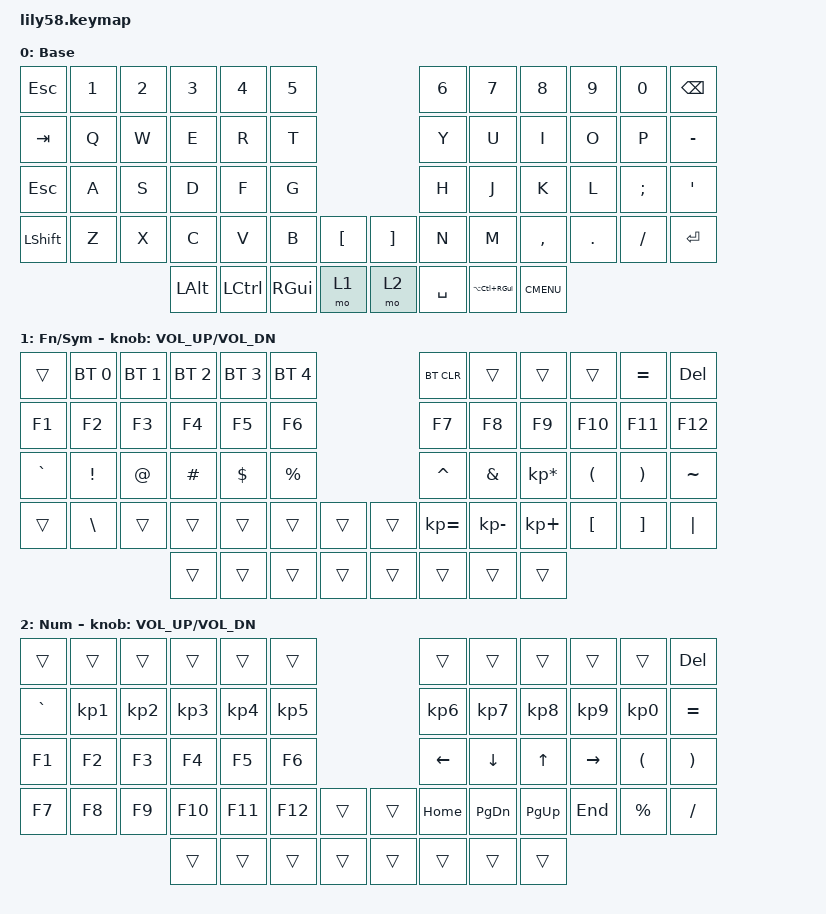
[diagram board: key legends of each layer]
/*
 * Copyright (c) 2020 The ZMK Contributors
 *
 * SPDX-License-Identifier: MIT
 */

#include <behaviors.dtsi>
#include <dt-bindings/zmk/bt.h>
#include <dt-bindings/zmk/keys.h>

/ {
    keymap {
        compatible = "zmk,keymap";

        default_layer {
            // ------------------------------------------------------------------------------------------------------------
            // |  ESC  |  1  |  2  |  3   |  4   |  5   |                   |  6   |  7    |  8    |  9   |   0   |   `   |
            // |  TAB  |  Q  |  W  |  E   |  R   |  T   |                   |  Y   |  U    |  I    |  O   |   P   |   -   |
            // |  CTRL |  A  |  S  |  D   |  F   |  G   |                   |  H   |  J    |  K    |  L   |   ;   |   '   |
            // | SHIFT |  Z  |  X  |  C   |  V   |  B   |   "["  |  |  "]"  |  N   |  M    |  ,    |  .   |   /   | SHIFT |
            //                     | ALT  | GUI  | LOWER|  SPACE |  | ENTER | RAISE| BSPC  | GUI   |

            display-name = "Base";
            bindings = <
&kp ESC     &kp N1  &kp N2  &kp N3    &kp N4     &kp N5                          &kp N6     &kp N7            &kp N8       &kp N9   &kp N0    &kp BACKSPACE
&kp TAB     &kp Q   &kp W   &kp E     &kp R      &kp T                           &kp Y      &kp U             &kp I        &kp O    &kp P     &kp MINUS
&kp ESCAPE  &kp A   &kp S   &kp D     &kp F      &kp G                           &kp H      &kp J             &kp K        &kp L    &kp SEMI  &kp SQT
&kp LSHFT   &kp Z   &kp X   &kp C     &kp V      &kp B     &kp LBKT    &kp RBKT  &kp N      &kp M             &kp COMMA    &kp DOT  &kp FSLH  &kp ENTER
                            &kp LALT  &kp LCTRL  &kp RGUI  &mo 1       &mo 2     &kp SPACE  &kp LA(LC(RGUI))  &kp K_CMENU
            >;
        };

        lower_layer {
            // ------------------------------------------------------------------------------------------------------------
            // | BTCLR | BT1 | BT2 |  BT3 |  BT4 |  BT5 |                   |      |       |       |      |       |       |
            // |  F1   |  F2 |  F3 |  F4  |  F5  |  F6  |                   |  F7  |  F8   |  F9   |  F10 |  F11  |  F12  |
            // |   `   |  !  |  @  |  #   |  $   |  %   |                   |  ^   |  &    |  *    |  (   |   )   |   ~   |
            // |       |     |     |      |      |      |        |  |       |      |  _    |  +    |  {   |   }   |  "|"  |
            //                     |      |      |      |        |  |       |      |       |       |

            display-name = "Fn/Sym";
            bindings = <
&trans     &bt BT_SEL 0   &bt BT_SEL 1  &bt BT_SEL 2  &bt BT_SEL 3  &bt BT_SEL 4                    &bt BT_CLR    &trans         &trans           &trans            &kp EQUAL          &kp DEL
&kp F1     &kp F2         &kp F3        &kp F4        &kp F5        &kp F6                          &kp F7        &kp F8         &kp F9           &kp F10           &kp F11            &kp F12
&kp GRAVE  &kp EXCL       &kp AT        &kp HASH      &kp DOLLAR    &kp PRCNT                       &kp CARET     &kp AMPERSAND  &kp KP_MULTIPLY  &kp LPAR          &kp RPAR           &kp TILDE
&trans     &kp BACKSLASH  &trans        &trans        &trans        &trans        &trans    &trans  &kp KP_EQUAL  &kp KP_MINUS   &kp KP_PLUS      &kp LEFT_BRACKET  &kp RIGHT_BRACKET  &kp PIPE
                                        &trans        &trans        &trans        &trans    &trans  &trans        &trans         &trans
            >;

            sensor-bindings = <&inc_dec_kp C_VOL_UP C_VOL_DN>;
        };

        raise_layer {
            // ------------------------------------------------------------------------------------------------------------
            // |       |     |     |      |      |      |                   |      |       |       |      |       |       |
            // |   `   |  1  |  2  |  3   |  4   |  5   |                   |  6   |   7   |   8   |  9   |   0   |       |
            // |   F1  |  F2 |  F3 |  F4  |  F5  |  F6  |                   |      |   <-  |   v   |  ^   |  ->   |       |
            // |   F7  |  F8 |  F9 |  F10 |  F11 |  F12 |        |  |       |  +   |   -   |   =   |  [   |   ]   |   \   |
            //                     |      |      |      |        |  |       |      |       |       |

            display-name = "Num";
            bindings = <
&trans     &trans           &trans           &trans           &trans           &trans                             &trans           &trans           &trans           &trans           &trans                &kp DEL
&kp GRAVE  &kp KP_NUMBER_1  &kp KP_NUMBER_2  &kp KP_NUMBER_3  &kp KP_NUMBER_4  &kp KP_NUMBER_5                    &kp KP_NUMBER_6  &kp KP_NUMBER_7  &kp KP_NUMBER_8  &kp KP_NUMBER_9  &kp KP_NUMBER_0       &kp EQUAL
&kp F1     &kp F2           &kp F3           &kp F4           &kp F5           &kp F6                             &kp LEFT         &kp DOWN_ARROW   &kp UP_ARROW     &kp RIGHT        &kp LEFT_PARENTHESIS  &kp RIGHT_PARENTHESIS
&kp F7     &kp F8           &kp F9           &kp F10          &kp F11          &kp F12          &trans    &trans  &kp HOME         &kp PAGE_DOWN    &kp PAGE_UP      &kp END          &kp PERCENT           &kp SLASH
                                             &trans           &trans           &trans           &trans    &trans  &trans           &trans           &trans
            >;

            sensor-bindings = <&inc_dec_kp C_VOL_UP C_VOL_DN>;
        };

        extra_1 { status = "reserved"; };

        extra_2 { status = "reserved"; };

        extra_3 { status = "reserved"; };
    };
};
